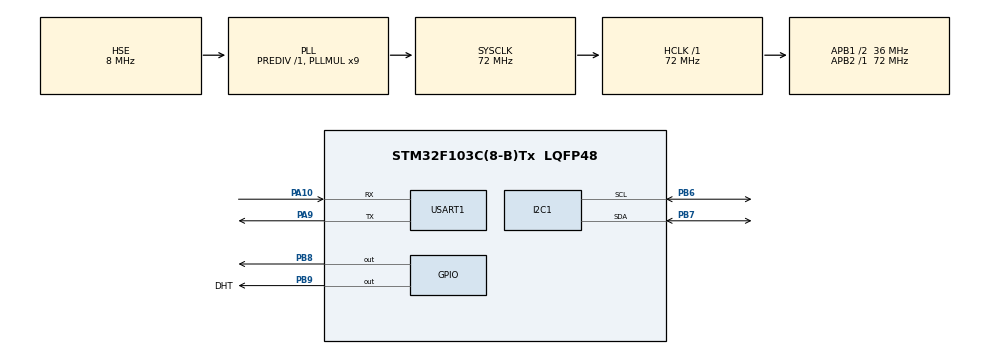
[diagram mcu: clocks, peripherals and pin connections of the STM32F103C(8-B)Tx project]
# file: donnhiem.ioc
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Mcu.Family=STM32F1
Mcu.Name=STM32F103C(8-B)Tx
Mcu.Package=LQFP48
NVIC.PriorityGroup=NVIC_PRIORITYGROUP_4
NVIC.USART1_IRQn=true\:0\:0\:false\:false\:true\:true\:true\:true
PA10.Mode=Asynchronous
PA10.Signal=USART1_RX
PA13.Mode=Serial_Wire
PA13.Signal=SYS_JTMS-SWDIO
PA14.Mode=Serial_Wire
PA14.Signal=SYS_JTCK-SWCLK
PA9.Mode=Asynchronous
PA9.Signal=USART1_TX
PB6.Mode=I2C
PB6.Signal=I2C1_SCL
PB7.Mode=I2C
PB7.Signal=I2C1_SDA
PB8.Signal=GPIO_Output
PB9.GPIO_Label=DHT
PB9.Signal=GPIO_Output
PD0-OSC_IN.Mode=HSE-External-Oscillator
PD0-OSC_IN.Signal=RCC_OSC_IN
PD1-OSC_OUT.Mode=HSE-External-Oscillator
PD1-OSC_OUT.Signal=RCC_OSC_OUT
ProjectManager.HeapSize=0x200
ProjectManager.StackSize=0x400
ProjectManager.TargetToolchain=STM32CubeIDE
RCC.AHBFreq_Value=72000000
RCC.APB1CLKDivider=RCC_HCLK_DIV2
RCC.APB1Freq_Value=36000000
RCC.APB1TimFreq_Value=72000000
RCC.APB2Freq_Value=72000000
RCC.APB2TimFreq_Value=72000000
RCC.HCLKFreq_Value=72000000
RCC.PLLMUL=RCC_PLL_MUL9
RCC.PLLSourceVirtual=RCC_PLLSOURCE_HSE
RCC.SYSCLKFreq_VALUE=72000000
RCC.SYSCLKSource=RCC_SYSCLKSOURCE_PLLCLK
RCC.USBFreq_Value=72000000
TIM1.Prescaler=71
USART1.VirtualMode=VM_ASYNC
VP_TIM1_VS_ClockSourceINT.Mode=Internal
board=custom

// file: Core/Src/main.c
/* USER CODE BEGIN Header */
/**
  ******************************************************************************
  * @file           : main.c
  * @brief          : Main program body
  ******************************************************************************
  * @attention
  *
  * Copyright (c) 2025 STMicroelectronics.
  * All rights reserved.
  *
  * This software is licensed under terms that can be found in the LICENSE file
  * in the root directory of this software component.
  * If no LICENSE file comes with this software, it is provided AS-IS.
  *
  ******************************************************************************
  */
/* USER CODE END Header */
#include "main.h"
#include <string.h>
#include"stdio.h"
#include "CLCD_I2C.h"

I2C_HandleTypeDef hi2c1;

TIM_HandleTypeDef htim1;

UART_HandleTypeDef huart1;

/* USER CODE BEGIN PV */
#define DHT11_PORT DHT_GPIO_Port
#define DHT11_PIN DHT_Pin
uint8_t RHI, RHD, TCI, TCD, SUM;
uint32_t pMillis, cMillis;
float tCelsius = 0;
float tFahrenheit = 0;
float RH = 0;

void microDelay (uint16_t delay)
{
  __HAL_TIM_SET_COUNTER(&htim1, 0);
  while (__HAL_TIM_GET_COUNTER(&htim1) < delay);
}

uint8_t DHT11_Start (void)
{
  uint8_t Response = 0;
  GPIO_InitTypeDef GPIO_InitStructPrivate = {0};
  GPIO_InitStructPrivate.Pin = DHT11_PIN;
  GPIO_InitStructPrivate.Mode = GPIO_MODE_OUTPUT_PP;
  GPIO_InitStructPrivate.Speed = GPIO_SPEED_FREQ_LOW;
  GPIO_InitStructPrivate.Pull = GPIO_NOPULL;
  HAL_GPIO_Init(DHT11_PORT, &GPIO_InitStructPrivate); // set the pin as output
  HAL_GPIO_WritePin (DHT11_PORT, DHT11_PIN, 0);   // pull the pin low
  HAL_Delay(20);   // wait for 20ms
  HAL_GPIO_WritePin (DHT11_PORT, DHT11_PIN, 1);   // pull the pin high
  microDelay (30);   // wait for 30us
  GPIO_InitStructPrivate.Mode = GPIO_MODE_INPUT;
  GPIO_InitStructPrivate.Pull = GPIO_PULLUP;
  HAL_GPIO_Init(DHT11_PORT, &GPIO_InitStructPrivate); // set the pin as input
  microDelay (40);
  if (!(HAL_GPIO_ReadPin (DHT11_PORT, DHT11_PIN)))
  {
    microDelay (80);
    if ((HAL_GPIO_ReadPin (DHT11_PORT, DHT11_PIN))) Response = 1;
  }
  pMillis = HAL_GetTick();
  cMillis = HAL_GetTick();
  while ((HAL_GPIO_ReadPin (DHT11_PORT, DHT11_PIN)) && pMillis + 2 > cMillis)
  {
    cMillis = HAL_GetTick();
  }
  return Response;
}

uint8_t DHT11_Read (void)
{
  uint8_t a,b;
  for (a=0;a<8;a++)
  {
    pMillis = HAL_GetTick();
    cMillis = HAL_GetTick();
    while (!(HAL_GPIO_ReadPin (DHT11_PORT, DHT11_PIN)) && pMillis + 2 > cMillis)
    {  // wait for the pin to go high
      cMillis = HAL_GetTick();
    }
    microDelay (40);   // wait for 40 us
    if (!(HAL_GPIO_ReadPin (DHT11_PORT, DHT11_PIN)))   // if the pin is low
      b&= ~(1<<(7-a));
    else
      b|= (1<<(7-a));
    pMillis = HAL_GetTick();
    cMillis = HAL_GetTick();
    while ((HAL_GPIO_ReadPin (DHT11_PORT, DHT11_PIN)) && pMillis + 2 > cMillis)
    {  // wait for the pin to go low
      cMillis = HAL_GetTick();
    }
  }
  return b;
}
float nhietdo;
float doam;
char str1[10];
char str2[10];
CLCD_I2C_Name LCD1;
uint32_t start=0;
uint16_t time=0;
uint32_t lasttimeDHT=0;
uint32_t lasttimeLCD=0;
uint32_t lasttimeUART=0;
uint16_t timeDHT =1000;
uint16_t timeLCD =1000;
uint16_t timeUART =1500;
#define RX_BUFFER_SIZE 50 // Kích thước bộ đệm nhận
char rxBuffer[RX_BUFFER_SIZE]; // Bộ đệm nhận
char command[RX_BUFFER_SIZE];  // Bộ đệm lưu lệnh đã nhận
uint8_t rxIndex = 0;           // Vị trí hiện tại trong bộ đệm

#ifdef __GNUC__
#define PUTCHAR_PROTOTYPE int __io_putchar(int ch)
#else
#define PUTCHAR_PROTOTYPE int fputc(int ch, FILE *f)
#endif /* __GNUC__ */

PUTCHAR_PROTOTYPE
{
  /* Place your implementation of fputc here */
  /* e.g. write a character to the USART1 and Loop until the end of transmission */
  HAL_UART_Transmit(&huart1, (uint8_t *)&ch, 1, 0xFFFF);

  return ch;
}

// ==================== Hàng đợi nhận lệnh UART ================= //
void Task_readDHT11(void){
if(DHT11_Start())
	      {
	        RHI = DHT11_Read(); // Relative humidity integral
	        RHD = DHT11_Read(); // Relative humidity decimal
	        TCI = DHT11_Read(); // Celsius integral
	        TCD = DHT11_Read(); // Celsius decimal
	        SUM = DHT11_Read(); // Check sum
	        if (RHI + RHD + TCI + TCD == SUM)
	        {
	          // Can use RHI and TCI for any purposes if whole number only needed
	          tCelsius = (float)TCI + (float)(TCD/10.0);
	          tFahrenheit = tCelsius * 9/5 + 32;
	          RH = (float)RHI + (float)(RHD/10.0);
	          // Can use tCelsius, tFahrenheit and RH for any purposes
	        }

	      }

}
void Task_DisplayLCD(void) {
    // Hiển thị dữ liệu lên LCD
	  sprintf(str1, "%.2f", tCelsius);
	  sprintf(str2, "%.2f",tFahrenheit );
	  CLCD_I2C_SetCursor(&LCD1, 0, 0);
	  CLCD_I2C_WriteString(&LCD1,"nhiet do: ");
	  CLCD_I2C_WriteString(&LCD1,str1);
	  CLCD_I2C_SetCursor(&LCD1, 0, 1);
	  CLCD_I2C_WriteString(&LCD1,"do am: " );
	  CLCD_I2C_WriteString(&LCD1,str2);
}
void Task_SendUART(void) {
    // Gửi dữ liệu qua UART
	printf("nhietdo: ");
		printf(str1);
		  printf("\n");
		  printf("doam: ");
		  printf(str2);
		  printf("\n");

}
void HAL_UART_RxCpltCallback(UART_HandleTypeDef *huart) {
	//printf("vào ngắt uart");
    if (huart->Instance == USART1) { // Kiểm tra ngắt từ UART1
        char rxChar = rxBuffer[rxIndex]; // Lấy ký tự nhận được
        if (rxChar == '\n') { // Kiểm tra ký tự kết thúc chuỗi (newline)
            rxBuffer[rxIndex] = '\0';  // Thêm ký tự kết thúc chuỗi
            strcpy(command, rxBuffer); // Lưu lệnh vào bộ đệm
            rxIndex = 0;               // Reset vị trí
        } else {
            rxIndex++; // Chuyển đến vị trí tiếp theo
            if (rxIndex >= RX_BUFFER_SIZE) { // Nếu vượt quá kích thước
                rxIndex = 0; // Reset vị trí
            }
        }
        // Tiếp tục nhận ký tự tiếp theo
        HAL_UART_Receive_IT(&huart1, (uint8_t *)&rxBuffer[rxIndex], 1);
    }
}

// Xử lý lệnh nhận được
void Handle_Command(void) {
    if (strcmp(command, "LED_ON") == 0) { // Lệnh bật LED
        HAL_GPIO_WritePin(GPIOA, GPIO_PIN_5, GPIO_PIN_SET);
        printf("LED ON\n");
    } else if (strcmp(command, "LED_OFF") == 0) { // Lệnh tắt LED
        HAL_GPIO_WritePin(GPIOA, GPIO_PIN_5, GPIO_PIN_RESET);
        printf("LED OFF\n");
    }
    if (strcmp(command,"5")==0){
    	timeUART=5000;
    	timeLCD=5000;
    }else if(strcmp(command,"10")==0){
    	timeUART=10000;
    	timeLCD=10000;
    }else if(strcmp(command,"1")==0){
    	timeUART=1000;
    	timeLCD=1000;
    }
    memset(command, 0, RX_BUFFER_SIZE); // Xóa bộ đệm lệnh
}

/* USER CODE END PV */

void SystemClock_Config(void);
static void MX_GPIO_Init(void);
static void MX_I2C1_Init(void);
static void MX_TIM1_Init(void);
static void MX_USART1_UART_Init(void);

/* USER CODE BEGIN 0 */

// ==================== Giao tiếp UART ========================== //

/* USER CODE END 0 */

int main(void)
{

  /* MCU Configuration--------------------------------------------------------*/

  /* Reset of all peripherals, Initializes the Flash interface and the Systick. */
  HAL_Init();

  /* Configure the system clock */
  SystemClock_Config();

  /* Initialize all configured peripherals */
  MX_GPIO_Init();
  MX_I2C1_Init();
  MX_TIM1_Init();
  MX_USART1_UART_Init();
  /* USER CODE BEGIN 2 */
  CLCD_I2C_Init(&LCD1,&hi2c1,0x4e,16,2);
  HAL_UART_Receive_IT(&huart1, (uint8_t *)&rxBuffer[rxIndex], 1); // Bắt đầu nhận UART
  HAL_TIM_Base_Start(&htim1);

  /* USER CODE END 2 */

  /* Infinite loop */
  while (1)
  {

    /* USER CODE BEGIN 3 */
	  if((HAL_GetTick()-lasttimeDHT)>timeDHT){
		  Task_readDHT11();
		  lasttimeDHT=HAL_GetTick();
	  }
	  if((HAL_GetTick()-lasttimeLCD)>timeLCD){
		  Task_DisplayLCD();
		  lasttimeLCD=HAL_GetTick();
	  }
	  if((HAL_GetTick()-lasttimeUART)>timeUART){
		  Task_SendUART();
		  lasttimeUART=HAL_GetTick();
	  }
	  Handle_Command();
  }
  /* USER CODE END 3 */
}

void SystemClock_Config(void)
{
  RCC_OscInitTypeDef RCC_OscInitStruct = {0};
  RCC_ClkInitTypeDef RCC_ClkInitStruct = {0};

  /** Initializes the RCC Oscillators according to the specified parameters
  * in the RCC_OscInitTypeDef structure.
  */
  RCC_OscInitStruct.OscillatorType = RCC_OSCILLATORTYPE_HSE;
  RCC_OscInitStruct.HSEState = RCC_HSE_ON;
  RCC_OscInitStruct.HSEPredivValue = RCC_HSE_PREDIV_DIV1;
  RCC_OscInitStruct.HSIState = RCC_HSI_ON;
  RCC_OscInitStruct.PLL.PLLState = RCC_PLL_ON;
  RCC_OscInitStruct.PLL.PLLSource = RCC_PLLSOURCE_HSE;
  RCC_OscInitStruct.PLL.PLLMUL = RCC_PLL_MUL9;
  if (HAL_RCC_OscConfig(&RCC_OscInitStruct) != HAL_OK)
  {
    Error_Handler();
  }

  /** Initializes the CPU, AHB and APB buses clocks
  */
  RCC_ClkInitStruct.ClockType = RCC_CLOCKTYPE_HCLK|RCC_CLOCKTYPE_SYSCLK
                              |RCC_CLOCKTYPE_PCLK1|RCC_CLOCKTYPE_PCLK2;
  RCC_ClkInitStruct.SYSCLKSource = RCC_SYSCLKSOURCE_PLLCLK;
  RCC_ClkInitStruct.AHBCLKDivider = RCC_SYSCLK_DIV1;
  RCC_ClkInitStruct.APB1CLKDivider = RCC_HCLK_DIV2;
  RCC_ClkInitStruct.APB2CLKDivider = RCC_HCLK_DIV1;

  if (HAL_RCC_ClockConfig(&RCC_ClkInitStruct, FLASH_LATENCY_2) != HAL_OK)
  {
    Error_Handler();
  }
}

static void MX_I2C1_Init(void)
{

  hi2c1.Instance = I2C1;
  hi2c1.Init.ClockSpeed = 100000;
  hi2c1.Init.DutyCycle = I2C_DUTYCYCLE_2;
  hi2c1.Init.OwnAddress1 = 0;
  hi2c1.Init.AddressingMode = I2C_ADDRESSINGMODE_7BIT;
  hi2c1.Init.DualAddressMode = I2C_DUALADDRESS_DISABLE;
  hi2c1.Init.OwnAddress2 = 0;
  hi2c1.Init.GeneralCallMode = I2C_GENERALCALL_DISABLE;
  hi2c1.Init.NoStretchMode = I2C_NOSTRETCH_DISABLE;
  if (HAL_I2C_Init(&hi2c1) != HAL_OK)
  {
    Error_Handler();
  }

}

static void MX_TIM1_Init(void)
{

  TIM_ClockConfigTypeDef sClockSourceConfig = {0};
  TIM_MasterConfigTypeDef sMasterConfig = {0};

  htim1.Instance = TIM1;
  htim1.Init.Prescaler = 71;
  htim1.Init.CounterMode = TIM_COUNTERMODE_UP;
  htim1.Init.Period = 65535;
  htim1.Init.ClockDivision = TIM_CLOCKDIVISION_DIV1;
  htim1.Init.RepetitionCounter = 0;
  htim1.Init.AutoReloadPreload = TIM_AUTORELOAD_PRELOAD_DISABLE;
  if (HAL_TIM_Base_Init(&htim1) != HAL_OK)
  {
    Error_Handler();
  }
  sClockSourceConfig.ClockSource = TIM_CLOCKSOURCE_INTERNAL;
  if (HAL_TIM_ConfigClockSource(&htim1, &sClockSourceConfig) != HAL_OK)
  {
    Error_Handler();
  }
  sMasterConfig.MasterOutputTrigger = TIM_TRGO_RESET;
  sMasterConfig.MasterSlaveMode = TIM_MASTERSLAVEMODE_DISABLE;
  if (HAL_TIMEx_MasterConfigSynchronization(&htim1, &sMasterConfig) != HAL_OK)
  {
    Error_Handler();
  }

}

static void MX_USART1_UART_Init(void)
{

  huart1.Instance = USART1;
  huart1.Init.BaudRate = 115200;
  huart1.Init.WordLength = UART_WORDLENGTH_8B;
  huart1.Init.StopBits = UART_STOPBITS_1;
  huart1.Init.Parity = UART_PARITY_NONE;
  huart1.Init.Mode = UART_MODE_TX_RX;
  huart1.Init.HwFlowCtl = UART_HWCONTROL_NONE;
  huart1.Init.OverSampling = UART_OVERSAMPLING_16;
  if (HAL_UART_Init(&huart1) != HAL_OK)
  {
    Error_Handler();
  }

}

static void MX_GPIO_Init(void)
{
  GPIO_InitTypeDef GPIO_InitStruct = {0};

  /* GPIO Ports Clock Enable */
  __HAL_RCC_GPIOD_CLK_ENABLE();
  __HAL_RCC_GPIOA_CLK_ENABLE();
  __HAL_RCC_GPIOB_CLK_ENABLE();

  /*Configure GPIO pin Output Level */
  HAL_GPIO_WritePin(GPIOB, GPIO_PIN_8|DHT_Pin, GPIO_PIN_RESET);

  /*Configure GPIO pins : PB8 DHT_Pin */
  GPIO_InitStruct.Pin = GPIO_PIN_8|DHT_Pin;
  GPIO_InitStruct.Mode = GPIO_MODE_OUTPUT_PP;
  GPIO_InitStruct.Pull = GPIO_NOPULL;
  GPIO_InitStruct.Speed = GPIO_SPEED_FREQ_LOW;
  HAL_GPIO_Init(GPIOB, &GPIO_InitStruct);

}

void Error_Handler(void)
{
  __disable_irq();
  while (1)
  {
  }
}
